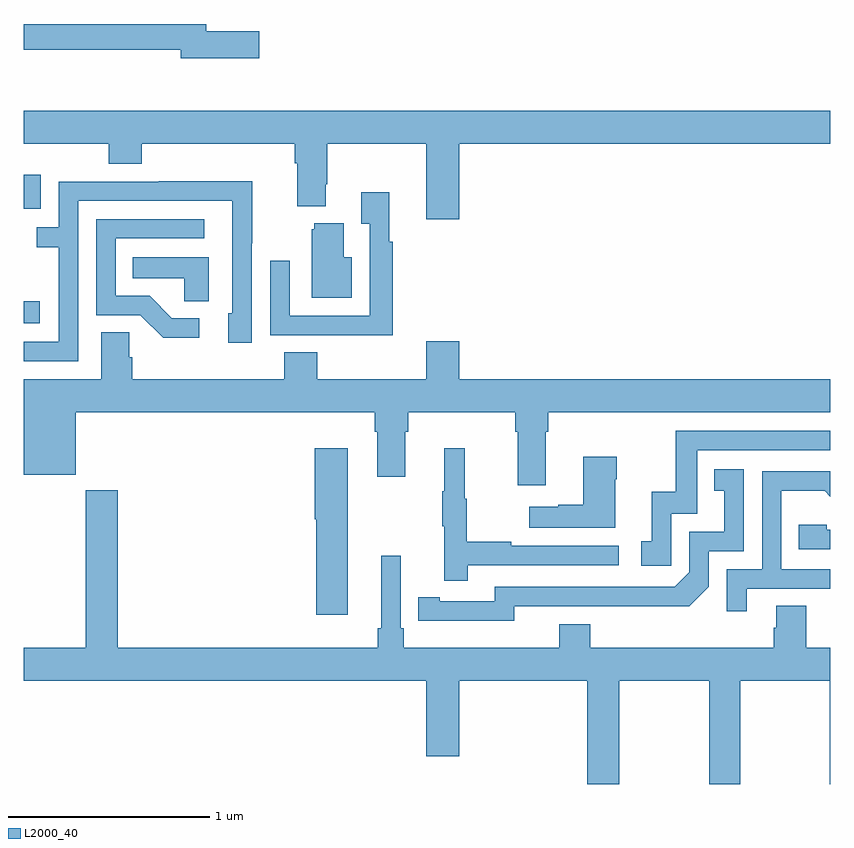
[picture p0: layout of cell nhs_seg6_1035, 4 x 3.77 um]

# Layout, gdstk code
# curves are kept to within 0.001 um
import gdstk
lib = gdstk.Library(unit=1e-6, precision=1e-09)
def R(c, l, rs):  # rectangles x0, y0, x1, y1
    for r in rs: c.add(gdstk.rectangle(r[:2], r[2:], *l))
def P(c, l, *ps):  # polygons
    for p in ps: c.add(gdstk.Polygon(p, *l))
L2000_40 = (2000, 40)

nhs_seg6_1035 = lib.new_cell('nhs_seg6_1035')
R(nhs_seg6_1035, L2000_40, [(175,939.785,175.078,939.895), (175,940.353,175.083,940.522)])
P(nhs_seg6_1035, L2000_40, [(176.167,941.234),(175.906,941.234),(175.906,941.27),(175,941.27),(175,941.142),(175.778,941.142),(175.778,941.099),(176.167,941.099)],
  [(177.16,940.676),(179,940.676),(179,940.84),(175,940.84),(175,940.676),(175.421,940.676),(175.421,940.577),(175.586,940.577),(175.586,940.676),(176.345,940.676),(176.345,940.58),(176.357,940.58),(176.357,940.367),(176.497,940.367),(176.497,940.474),(176.505,940.474),(176.505,940.676),(176.996,940.676),(176.996,940.302),(177.16,940.302)],
  [(175.269,940.392),(176.034,940.392),(176.034,939.834),(176.015,939.834),(176.015,939.69),(176.13,939.69),(176.13,940.183),(176.133,940.183),(176.133,940.49),(175.669,940.49),(175.669,940.488),(175.173,940.488),(175.173,940.263),(175.063,940.263),(175.063,940.162),(175.173,940.162),(175.173,939.693),(175,939.693),(175,939.597),(175.269,939.597)],
  [(176.831,940.19),(176.813,940.19),(176.813,940.435),(176.675,940.435),(176.675,940.279),(176.715,940.279),(176.715,939.822),(176.319,939.822),(176.319,940.096),(176.223,940.096),(176.223,939.726),(176.539,939.726),(176.539,939.725),(176.831,939.725)],
  [(175.87,939.81),(175.735,939.81),(175.624,939.921),(175.455,939.921),(175.455,940.206),(175.894,940.206),(175.894,940.302),(175.359,940.302),(175.359,939.825),(175.578,939.825),(175.691,939.713),(175.87,939.713)],
  [(176.626,940.114),(176.587,940.114),(176.587,940.282),(176.441,940.282),(176.441,940.251),(176.429,940.251),(176.429,939.911),(176.626,939.911)],
  [(175.918,940.114),(175.54,940.114),(175.54,940.01),(175.797,940.01),(175.797,939.895),(175.918,939.895)],
  [(177.589,939.248),(177.602,939.248),(177.602,939.344),(179,939.344),(179,939.508),(177.16,939.508),(177.16,939.697),(176.996,939.697),(176.996,939.508),(176.456,939.508),(176.456,939.641),(176.291,939.641),(176.291,939.508),(175.538,939.508),(175.538,939.617),(175.524,939.617),(175.524,939.74),(175.385,939.74),(175.385,939.508),(175,939.508),(175,939.035),(175.258,939.035),(175.258,939.344),(176.741,939.344),(176.741,939.248),(176.753,939.248),(176.753,939.024),(176.893,939.024),(176.893,939.248),(176.906,939.248),(176.906,939.344),(177.437,939.344),(177.437,939.248),(177.449,939.248),(177.449,938.982),(177.589,938.982)],
  [(178.212,938.841),(178.341,938.841),(178.341,939.156),(179,939.156),(179,939.252),(178.233,939.252),(178.233,938.95),(178.115,938.95),(178.115,938.703),(178.062,938.703),(178.062,938.583),(178.212,938.583)],
  [(177.203,938.586),(177.952,938.586),(177.952,938.682),(177.419,938.682),(177.419,938.702),(177.196,938.702),(177.196,938.916),(177.188,938.916),(177.188,939.166),(177.086,939.166),(177.086,938.953),(177.075,938.953),(177.075,938.779),(177.086,938.779),(177.086,938.508),(177.203,938.508)],
  [(176.608,939.166),(176.444,939.166),(176.444,938.814),(176.45,938.814),(176.45,938.34),(176.608,938.34)],
  [(177.934,939.011),(177.942,939.011),(177.942,939.124),(177.776,939.124),(177.776,938.885),(177.65,938.885),(177.65,938.875),(177.507,938.875),(177.507,938.771),(177.934,938.771)],
  [(177.432,938.382),(178.3,938.381),(178.398,938.478),(178.398,938.655),(178.572,938.655),(178.572,939.061),(178.426,939.061),(178.426,938.955),(178.475,938.955),(178.475,938.751),(178.302,938.751),(178.302,938.55),(178.23,938.478),(177.336,938.478),(177.336,938.406),(177.064,938.406),(177.064,938.426),(176.956,938.426),(176.956,938.31),(177.432,938.309)],
  [(178.585,938.469),(179,938.469),(179,938.565),(178.758,938.565),(178.758,938.954),(178.972,938.954),(179,938.926),(179,939.051),(178.662,939.051),(178.662,938.565),(178.488,938.565),(178.488,938.358),(178.585,938.358)],
  [(179,938.76),(178.983,938.76),(178.983,938.787),(178.843,938.787),(178.843,938.664),(179,938.664)],
  [(176.774,938.632),(176.774,938.272),(176.755,938.272),(176.755,938.176),(175.466,938.176),(175.466,938.956),(175.306,938.956),(175.306,938.176),(175,938.176),(175,938.012),(176.996,938.012),(176.996,937.638),(177.16,937.638),(177.16,938.012),(177.794,938.012),(177.794,937.5),(177.954,937.5),(177.954,938.012),(178.399,938.012),(178.399,937.5),(178.554,937.5),(178.554,938.012),(178.999,938.012),(178.999,937.5),(179,937.5),(179,938.176),(178.881,938.176),(178.881,938.384),(178.733,938.384),(178.733,938.274),(178.721,938.274),(178.721,938.176),(177.809,938.176),(177.809,938.293),(177.656,938.293),(177.656,938.176),(176.885,938.176),(176.885,938.272),(176.871,938.272),(176.871,938.632)])

lib.write_gds('nhs_seg6_1035.gds')
